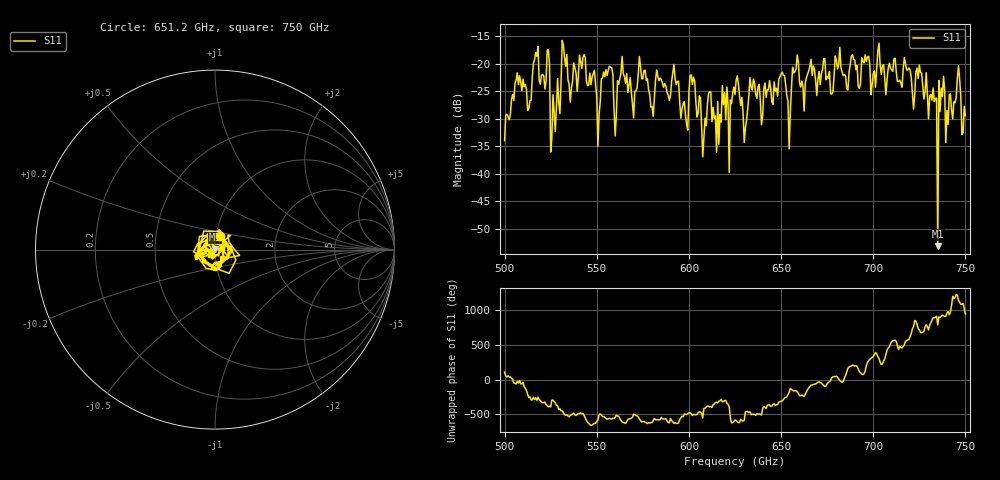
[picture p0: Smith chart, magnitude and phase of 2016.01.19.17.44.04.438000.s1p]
!Created with skrf (http://scikit-rf.org).
# GHz S RI R 50.0
!freq ReS11 ImS11
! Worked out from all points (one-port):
!   401 points, 500 GHz to 750 GHz, reference 50 ohm
!   lowest |S11| = -53.2 dB at 735 GHz (marker M1), VSWR 1.00, Z = 50.1 + j0.206 ohm
!   |S11| at or under -10 dB: start of sweep to end of sweep
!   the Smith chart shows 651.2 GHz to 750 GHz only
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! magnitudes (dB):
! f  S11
! 500 GHz  -34.0
! 506.9 GHz  -21.6
! 513.8 GHz  -26.7
! 516.9 GHz  -18.0
! 523.1 GHz  -17.5
! 526.2 GHz  -25.6
! 531.2 GHz  -15.8
! 542.5 GHz  -18.9
! 550.6 GHz  -35.0
! 560.6 GHz  -29.3
! 562.5 GHz  -22.7
! 593.8 GHz  -23.2
! 598.1 GHz  -29.3
! 601.9 GHz  -23.8
! 608.1 GHz  -33.5
! 625 GHz  -25.6
! 630.6 GHz  -31.7
! 634.4 GHz  -24.8
! 650.6 GHz  -21.5
! 654.4 GHz  -35.5
! 656.2 GHz  -20.6
! 687.5 GHz  -20.2
! 718.8 GHz  -21.1
! 735 GHz  -53.2
! 736.9 GHz  -24.4
! 740.6 GHz  -31.0
! 746.2 GHz  -20.4
! 750 GHz  -29.5
